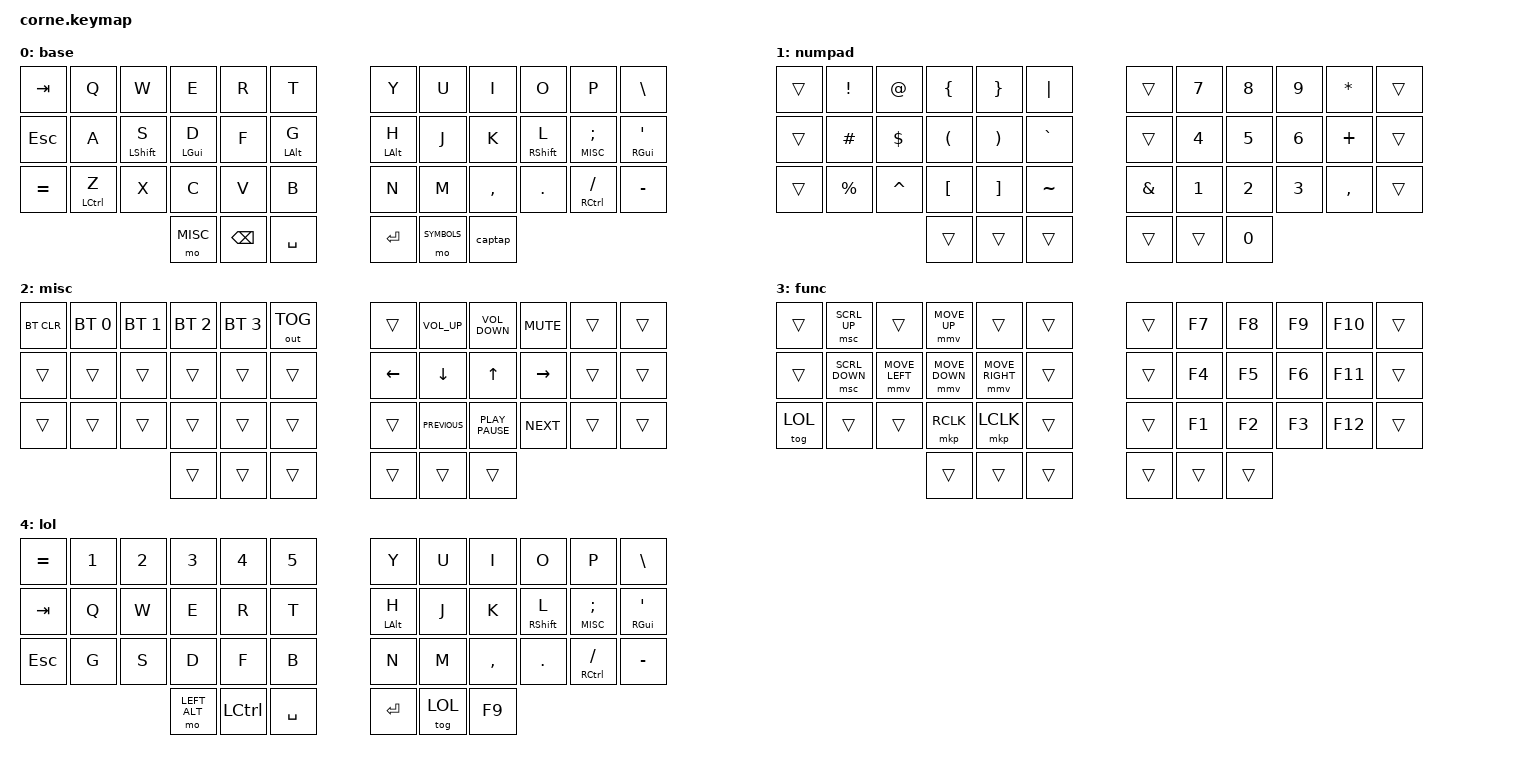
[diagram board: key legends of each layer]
/*
 * Copyright (c) 2020 The ZMK Contributors
 * SPDX-License-Identifier: MIT
 */

#include <behaviors.dtsi>
#include <dt-bindings/zmk/bt.h>
#include <dt-bindings/zmk/keys.h>
#include <dt-bindings/zmk/outputs.h>
#include <dt-bindings/zmk/pointing.h>

#define BASE 0
#define SYMBOLS 1
#define MISC 2
#define FUNCTIONS 3
#define LOL 4

&caps_word {
    continue-list = <UNDERSCORE BACKSPACE DELETE MINUS>;
};

/ {
    behaviors {
        ht: hold_tap {
            compatible = "zmk,behavior-hold-tap";
            label = "hold-tap";
            #binding-cells = <2>;
            tapping-term-ms = <220>;
            quick-tap-ms = <200>;
            flavor = "tap-preferred";
            bindings = <&kp>, <&kp>;
        };

        captap: caps_lock_tap {
            compatible = "zmk,behavior-tap-dance";
            #binding-cells = <0>;
            tapping-term-ms = <200>;
            bindings = <&caps_word>, <&kp CAPSLOCK>;
        };
    };

    conditional_layers {
        compatible = "zmk,conditional-layers";

        tri {
            if-layers = <SYMBOLS MISC>;
            then-layer = <FUNCTIONS>;
        };
    };

    keymap {
        compatible = "zmk,keymap";

        base {
            display-name = "base";
            bindings = <
//    ┌─────┬────────────┬────────────┬────────────┬──────┬────────────┐   ┌────────────┬──────────────┬─────────┬────────────┬───────────┬────────────┐
//    │ tab │     Q      │     W      │     E      │  R   │     T      │   │     Y      │      U       │    I    │     O      │     P     │     \      │
//    ├─────┼────────────┼────────────┼────────────┼──────┼────────────┤   ├────────────┼──────────────┼─────────┼────────────┼───────────┼────────────┤
//    │ esc │     A      │ &ht lsft S │ &ht lgui D │  F   │ &ht lalt G │   │ &ht lalt H │      J       │    K    │ &ht rsft L │ lt MISC ; │ &ht rgui ' │
//    ├─────┼────────────┼────────────┼────────────┼──────┼────────────┤   ├────────────┼──────────────┼─────────┼────────────┼───────────┼────────────┤
//    │  =  │ &ht lctl Z │     X      │     C      │  V   │     B      │   │     N      │      M       │    ,    │     .      │ mt rctl / │     -      │
//    └─────┴────────────┴────────────┼────────────┼──────┼────────────┤   ├────────────┼──────────────┼─────────┼────────────┴───────────┴────────────┘
//                                    │  mo MISC   │ bspc │    spc     │   │    ent     │ mo SYMBOlsft │ &captap │
//                                    └────────────┴──────┴────────────┘   └────────────┴──────────────┴─────────┘
  &kp TAB      &kp Q         &kp W              &kp E            &kp R      &kp T                &kp Y        &kp U         &kp I       &kp O               &kp P             &kp BACKSLASH
  &kp ESCAPE   &kp A         &ht LEFT_SHIFT S   &ht LEFT_GUI D   &kp F      &ht LEFT_ALT G       &ht LALT H   &kp J         &kp K       &ht RIGHT_SHIFT L   &lt MISC SEMI     &ht RIGHT_GUI SQT
  &kp EQUAL    &ht LCTRL Z   &kp X              &kp C            &kp V      &kp B                &kp N        &kp M         &kp COMMA   &kp DOT             &mt RCTRL SLASH   &kp MINUS
                                                &mo MISC         &kp BSPC   &kp SPACE            &kp RET      &mo SYMBOLS   &captap
            >;
        };

        numpad {
            display-name = "numpad";
            bindings = <
//    ┌─────┬───┬───┬─────┬─────┬─────┐   ┌─────┬─────┬───┬───┬───┬─────┐
//    │     │ ! │ @ │  {  │  }  │  |  │   │     │  7  │ 8 │ 9 │ * │     │
//    ├─────┼───┼───┼─────┼─────┼─────┤   ├─────┼─────┼───┼───┼───┼─────┤
//    │     │ # │ $ │  (  │  )  │  `  │   │     │  4  │ 5 │ 6 │ + │     │
//    ├─────┼───┼───┼─────┼─────┼─────┤   ├─────┼─────┼───┼───┼───┼─────┤
//    │     │ % │ ^ │  [  │  ]  │  ~  │   │  &  │  1  │ 2 │ 3 │ , │     │
//    └─────┴───┴───┼─────┼─────┼─────┤   ├─────┼─────┼───┼───┴───┴─────┘
//                  │     │     │     │   │     │     │ 0 │
//                  └─────┴─────┴─────┘   └─────┴─────┴───┘
  &trans   &kp EXCL      &kp AT       &kp LEFT_BRACE         &kp RIGHT_BRACE         &kp PIPE        &trans     &kp N7   &kp N8   &kp N9   &kp STAR    &trans
  &trans   &kp POUND     &kp DOLLAR   &kp LEFT_PARENTHESIS   &kp RIGHT_PARENTHESIS   &kp GRAVE       &trans     &kp N4   &kp N5   &kp N6   &kp PLUS    &trans
  &trans   &kp PERCENT   &kp CARET    &kp LEFT_BRACKET       &kp RIGHT_BRACKET       &kp TILDE       &kp AMPS   &kp N1   &kp N2   &kp N3   &kp COMMA   &trans
                                      &trans                 &trans                  &trans          &trans     &trans   &kp N0
            >;
        };

        misc {
            display-name = "misc";
            bindings = <
//    ┌────────┬──────────┬──────────┬──────────┬──────────┬──────────┐   ┌──────┬──────┬──────┬──────┬─────┬─────┐
//    │ bt_clr │ bt_sel 0 │ bt_sel 1 │ bt_sel 2 │ bt_sel 3 │ out_ tog │   │      │ volu │ vold │ mute │     │     │
//    ├────────┼──────────┼──────────┼──────────┼──────────┼──────────┤   ├──────┼──────┼──────┼──────┼─────┼─────┤
//    │        │          │          │          │          │          │   │ left │ down │  up  │ rght │     │     │
//    ├────────┼──────────┼──────────┼──────────┼──────────┼──────────┤   ├──────┼──────┼──────┼──────┼─────┼─────┤
//    │        │          │          │          │          │          │   │      │ prev │ play │ next │     │     │
//    └────────┴──────────┴──────────┼──────────┼──────────┼──────────┤   ├──────┼──────┼──────┼──────┴─────┴─────┘
//                                   │          │          │          │   │      │      │      │
//                                   └──────────┴──────────┴──────────┘   └──────┴──────┴──────┘
  &bt BT_CLR   &bt BT_SEL 0   &bt BT_SEL 1   &bt BT_SEL 2   &bt BT_SEL 3   &out OUT_TOG       &trans     &kp C_VOLUME_UP   &kp C_VOLUME_DOWN   &kp K_MUTE   &trans   &trans
  &trans       &trans         &trans         &trans         &trans         &trans             &kp LEFT   &kp DOWN          &kp UP              &kp RIGHT    &trans   &trans
  &trans       &trans         &trans         &trans         &trans         &trans             &trans     &kp C_PREVIOUS    &kp K_PLAY_PAUSE    &kp C_NEXT   &trans   &trans
                                             &trans         &trans         &trans             &trans     &trans            &trans
            >;
        };

        functions {
            display-name = "func";
            bindings = <
//    ┌─────────┬────────────────┬────────────────┬────────────────┬────────────────┬─────┐   ┌─────┬─────┬─────┬────┬─────┬─────┐
//    │         │  &msc SCRL_up  │                │  &mmv MOVE_up  │                │     │   │     │ f7  │ f8  │ f9 │ f10 │     │
//    ├─────────┼────────────────┼────────────────┼────────────────┼────────────────┼─────┤   ├─────┼─────┼─────┼────┼─────┼─────┤
//    │         │ &msc SCRL_down │ &mmv MOVE_left │ &mmv MOVE_down │ &mmv MOVE_rght │     │   │     │ f4  │ f5  │ f6 │ f11 │     │
//    ├─────────┼────────────────┼────────────────┼────────────────┼────────────────┼─────┤   ├─────┼─────┼─────┼────┼─────┼─────┤
//    │ tog LOL │                │                │      rclk      │      lclk      │     │   │     │ f1  │ f2  │ f3 │ f12 │     │
//    └─────────┴────────────────┴────────────────┼────────────────┼────────────────┼─────┤   ├─────┼─────┼─────┼────┴─────┴─────┘
//                                                │                │                │     │   │     │     │     │
//                                                └────────────────┴────────────────┴─────┘   └─────┴─────┴─────┘
  &trans     &msc SCRL_UP     &trans           &mmv MOVE_UP     &trans            &trans       &trans   &kp F7   &kp F8   &kp F9   &kp F10   &trans
  &trans     &msc SCRL_DOWN   &mmv MOVE_LEFT   &mmv MOVE_DOWN   &mmv MOVE_RIGHT   &trans       &trans   &kp F4   &kp F5   &kp F6   &kp F11   &trans
  &tog LOL   &trans           &trans           &mkp RCLK        &mkp LCLK         &trans       &trans   &kp F1   &kp F2   &kp F3   &kp F12   &trans
                                               &trans           &trans            &trans       &trans   &trans   &trans
            >;
        };

        lol {
            display-name = "lol";
            bindings = <
//    ┌─────┬───┬───┬─────────┬──────┬─────┐   ┌────────────┬─────────┬────┬────────────┬───────────┬────────────┐
//    │  =  │ 1 │ 2 │    3    │  4   │  5  │   │     Y      │    U    │ I  │     O      │     P     │     \      │
//    ├─────┼───┼───┼─────────┼──────┼─────┤   ├────────────┼─────────┼────┼────────────┼───────────┼────────────┤
//    │ tab │ Q │ W │    E    │  R   │  T  │   │ &ht lalt H │    J    │ K  │ &ht rsft L │ lt MISC ; │ &ht rgui ' │
//    ├─────┼───┼───┼─────────┼──────┼─────┤   ├────────────┼─────────┼────┼────────────┼───────────┼────────────┤
//    │ esc │ G │ S │    D    │  F   │  B  │   │     N      │    M    │ ,  │     .      │ mt rctl / │     -      │
//    └─────┴───┴───┼─────────┼──────┼─────┤   ├────────────┼─────────┼────┼────────────┴───────────┴────────────┘
//                  │ mo lalt │ lctl │ spc │   │    ent     │ tog LOL │ f9 │
//                  └─────────┴──────┴─────┘   └────────────┴─────────┴────┘
  &kp EQUAL   &kp N1   &kp N2   &kp N3         &kp N4      &kp N5          &kp Y        &kp U      &kp I       &kp O               &kp P             &kp BACKSLASH
  &kp TAB     &kp Q    &kp W    &kp E          &kp R       &kp T           &ht LALT H   &kp J      &kp K       &ht RIGHT_SHIFT L   &lt MISC SEMI     &ht RIGHT_GUI SQT
  &kp ESC     &kp G    &kp S    &kp D          &kp F       &kp B           &kp N        &kp M      &kp COMMA   &kp DOT             &mt RCTRL SLASH   &kp MINUS
                                &mo LEFT_ALT   &kp LCTRL   &kp SPACE       &kp RET      &tog LOL   &kp F9
            >;
        };
    };
};
